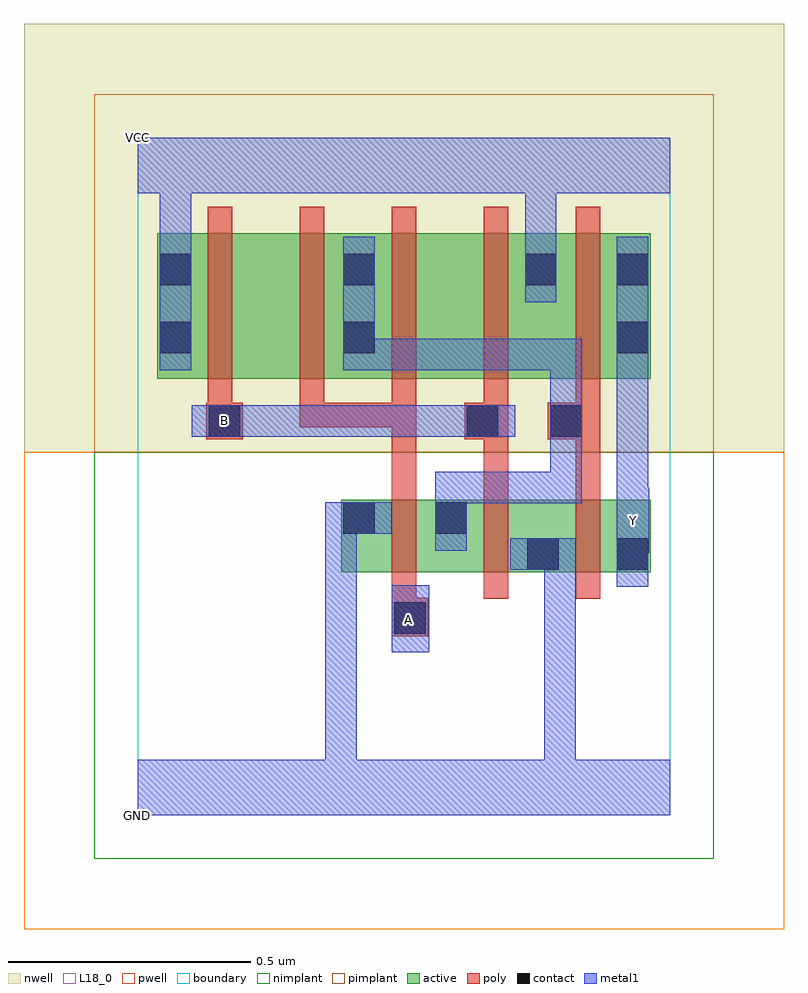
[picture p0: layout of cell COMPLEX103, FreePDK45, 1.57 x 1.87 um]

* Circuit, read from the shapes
.subckt COMPLEX103 A B GND VCC Y
M1 n1 A GND VSUBS nfet w=0.15u l=0.05u
M2 GND B n1 VSUBS nfet w=0.15u l=0.05u
M3 Y n1 GND VSUBS nfet w=0.15u l=0.05u
M4 n2 B VCC n3 pfet w=0.3u l=0.05u
M5 n1 A n2 n3 pfet w=0.3u l=0.05u
M6 n4 A n1 n3 pfet w=0.3u l=0.05u
M7 VCC B n4 n3 pfet w=0.3u l=0.05u
M8 Y n1 VCC n3 pfet w=0.3u l=0.05u
.ends

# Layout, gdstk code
import gdstk
lib = gdstk.Library(unit=1e-6, precision=1e-09)
def R(c, l, rs):  # rectangles x0, y0, x1, y1
    for r in rs: c.add(gdstk.rectangle(r[:2], r[2:], *l))
def A(c, l, x, y, w, h, nx, ny, dx, dy):  # array of equal rectangles
    R(c, l, [(x+i*dx, y+j*dy, x+i*dx+w, y+j*dy+h) for i in range(nx) for j in range(ny)])
active = (1, 0)
pwell = (2, 0)
nwell = (3, 0)
nimplant = (4, 0)
pimplant = (5, 0)
poly = (9, 0)
contact = (10, 0)
metal1 = (11, 0)
L18_0 = (18, 0)
boundary = (235, 0)

complex103 = lib.new_cell('COMPLEX103')
R(complex103, active, [(0.42,0.502,0.495,0.652), (0.42,0.502,0.685,0.652), (0.61,0.502,0.685,0.652), (0.61,0.502,0.875,0.652), (0.8,0.502,1.06,0.652), (0.8,0.502,0.875,0.577), (0.985,0.502,1.06,0.652), (0.04,0.902,0.115,1.202), (0.04,0.902,0.265,1.202), (0.265,0.902,0.495,1.202), (0.42,0.902,0.495,1.165), (0.42,0.902,0.645,1.202), (0.645,0.902,0.87,1.202), (0.795,0.902,1.06,1.202), (0.795,0.902,0.87,1.202), (0.985,0.902,1.06,1.165)])
R(complex103, pwell, [(-0.235,-0.235,1.335,0.75)])
R(complex103, nwell, [(-0.235,0.75,1.335,1.635)])
R(complex103, nimplant, [(-0.09,-0.09,1.19,0.75)])
R(complex103, pimplant, [(-0.09,0.75,1.19,1.49)])
A(complex103, poly, 0.525, 0.447, 0.05, 0.26, 3, 1, 0.19, 0)
A(complex103, poly, 0.145, 0.802, 0.05, 0.095, 5, 1, 0.19, 0)
A(complex103, poly, 0.145, 0.847, 0.05, 0.41, 5, 1, 0.19, 0)
R(complex103, poly, [(0.525,0.37,0.6,0.45), (0.525,0.4,0.575,0.497), (0.525,0.657,0.575,0.852), (0.715,0.657,0.765,0.827), (0.905,0.657,0.955,0.827), (0.142,0.777,0.217,0.852), (0.675,0.777,0.765,0.852), (0.847,0.777,0.955,0.852), (0.335,0.802,0.385,0.852), (0.335,0.802,0.575,0.852), (0.525,0.802,0.575,0.852), (0.525,0.802,0.575,0.852), (0.525,0.802,0.575,0.852)])
R(complex103, contact, [(0.53,0.375,0.595,0.44), (0.805,0.507,0.87,0.572), (0.99,0.507,1.055,0.572), (0.425,0.582,0.49,0.647), (0.615,0.582,0.68,0.647), (0.147,0.782,0.212,0.847), (0.68,0.782,0.745,0.847), (0.852,0.782,0.917,0.847), (0.045,0.955,0.11,1.02), (0.425,0.955,0.49,1.02), (0.99,0.955,1.055,1.02), (0.045,1.095,0.11,1.16), (0.425,1.095,0.49,1.16), (0.8,1.095,0.865,1.16), (0.99,1.095,1.055,1.16)])
R(complex103, metal1, [(0,0,1.1,0.115), (0.387,0.05,0.452,0.647), (0.84,0.05,0.905,0.115), (0.84,0.05,0.905,0.115), (0.84,0.05,0.905,0.115), (0.84,0.05,0.905,0.115), (0.84,0.05,0.905,0.115), (0.84,0.05,0.905,0.115), (0.84,0.05,0.905,0.572), (0.525,0.337,0.602,0.475), (0.99,0.472,1.055,0.607), (0.77,0.507,0.905,0.572), (0.99,0.542,1.055,0.607), (0.99,0.542,1.057,0.677), (0.615,0.547,0.68,0.682), (0.387,0.582,0.452,0.647), (0.387,0.582,0.452,0.647), (0.387,0.582,0.452,0.647), (0.387,0.582,0.452,0.647), (0.387,0.582,0.452,0.647), (0.387,0.582,0.452,0.647), (0.387,0.582,0.525,0.647), (0.99,0.612,1.055,0.985), (0.615,0.617,0.68,0.682), (0.615,0.617,0.68,0.71), (0.615,0.645,0.917,0.71), (0.852,0.645,0.917,0.71), (0.852,0.645,0.917,0.882), (0.852,0.747,0.917,0.882), (0.112,0.782,0.247,0.847), (0.182,0.782,0.247,0.847), (0.182,0.782,0.247,0.847), (0.182,0.782,0.385,0.847), (0.32,0.782,0.385,0.847), (0.32,0.782,0.522,0.847), (0.457,0.782,0.522,0.847), (0.457,0.782,0.522,0.847), (0.457,0.782,0.522,0.847), (0.457,0.782,0.697,0.847), (0.632,0.782,0.697,0.847), (0.632,0.782,0.71,0.847), (0.645,0.782,0.78,0.847), (0.852,0.817,0.917,0.882), (0.852,0.817,0.917,0.882), (0.852,0.817,0.917,0.985), (0.045,0.92,0.11,1.195), (0.425,0.92,0.49,1.195), (0.425,0.92,0.522,0.985), (0.457,0.92,0.522,0.985), (0.457,0.92,0.662,0.985), (0.597,0.92,0.662,0.985), (0.597,0.92,0.662,0.985), (0.597,0.92,0.662,0.985), (0.597,0.92,0.917,0.985), (0.852,0.92,0.917,0.985), (0.99,0.92,1.055,1.195), (0.8,1.06,0.865,1.195), (0.045,1.13,0.11,1.195), (0.045,1.13,0.11,1.195), (0.045,1.13,0.11,1.35), (0.8,1.13,0.865,1.195), (0.8,1.13,0.865,1.195), (0.8,1.13,0.865,1.35), (0,1.285,1.1,1.4)])
R(complex103, L18_0, [(0,0,1.1,0.115), (0.387,0.05,0.452,0.647), (0.84,0.05,0.905,0.115), (0.84,0.05,0.905,0.115), (0.84,0.05,0.905,0.115), (0.84,0.05,0.905,0.115), (0.84,0.05,0.905,0.115), (0.84,0.05,0.905,0.115), (0.84,0.05,0.905,0.572), (0.525,0.337,0.602,0.475), (0.527,0.372,0.592,0.437), (0.99,0.472,1.055,0.607), (0.77,0.507,0.905,0.572), (0.99,0.542,1.055,0.607), (0.99,0.542,1.057,0.677), (0.992,0.577,1.057,0.642), (0.387,0.582,0.452,0.647), (0.387,0.582,0.452,0.647), (0.387,0.582,0.452,0.647), (0.387,0.582,0.452,0.647), (0.387,0.582,0.452,0.647), (0.387,0.582,0.452,0.647), (0.387,0.582,0.525,0.647), (0.99,0.612,1.055,0.985), (0.112,0.782,0.247,0.847), (0.147,0.782,0.212,0.847), (0.182,0.782,0.247,0.847), (0.182,0.782,0.247,0.847), (0.182,0.782,0.385,0.847), (0.32,0.782,0.385,0.847), (0.32,0.782,0.522,0.847), (0.457,0.782,0.522,0.847), (0.457,0.782,0.522,0.847), (0.457,0.782,0.522,0.847), (0.457,0.782,0.697,0.847), (0.632,0.782,0.697,0.847), (0.632,0.782,0.71,0.847), (0.645,0.782,0.78,0.847), (0.045,0.92,0.11,1.195), (0.99,0.92,1.055,1.195), (0.8,1.06,0.865,1.195), (0.045,1.13,0.11,1.195), (0.045,1.13,0.11,1.195), (0.045,1.13,0.11,1.35), (0.8,1.13,0.865,1.195), (0.8,1.13,0.865,1.195), (0.8,1.13,0.865,1.35), (0,1.285,1.1,1.4)])
R(complex103, boundary, [(0,0,1.1,1.4)])
complex103.add(gdstk.Label('A', (0.56,0.405), layer=11, texttype=0))
complex103.add(gdstk.Label('B', (0.18,0.815), layer=11, texttype=0))
complex103.add(gdstk.Label('Y', (1.025,0.61), layer=11, texttype=0))
complex103.add(gdstk.Label('VCC', (0,1.4), layer=11, texttype=0))
complex103.add(gdstk.Label('GND', (0,0), layer=11, texttype=0))

lib.write_gds('COMPLEX103.gds')
